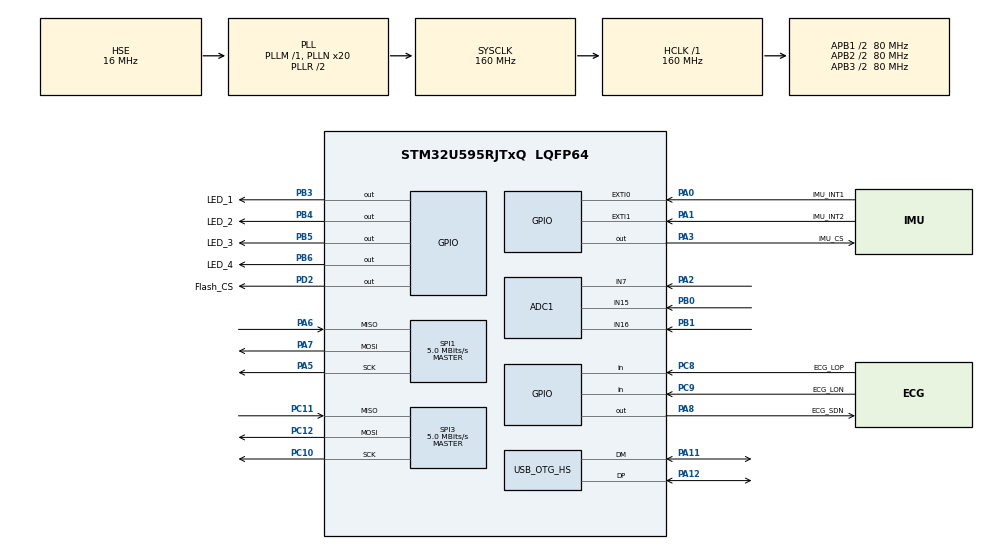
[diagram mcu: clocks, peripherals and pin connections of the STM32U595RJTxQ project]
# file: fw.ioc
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ADC1.Channel-1\#ChannelRegularConversion=ADC_CHANNEL_7
ADC1.Channel-2\#ChannelRegularConversion=ADC_CHANNEL_15
ADC1.Channel-3\#ChannelRegularConversion=ADC_CHANNEL_16
ADC1.ClockPrescaler=ADC_CLOCK_ASYNC_DIV2
ADC1.ConversionDataManagement=ADC_CONVERSIONDATA_DMA_ONESHOT
ADC1.DMAContinuousRequests=ENABLE
ADC1.ExternalTrigConv=ADC_SOFTWARE_START
ADC1.MonitoredBy-1\#ChannelRegularConversion=__NULL
ADC1.MonitoredBy-2\#ChannelRegularConversion=__NULL
ADC1.MonitoredBy-3\#ChannelRegularConversion=__NULL
ADC1.NbrOfConversion=3
ADC1.NbrOfConversionFlag=1
ADC1.OffsetNumber-1\#ChannelRegularConversion=ADC_OFFSET_NONE
ADC1.OffsetNumber-2\#ChannelRegularConversion=ADC_OFFSET_NONE
ADC1.OffsetNumber-3\#ChannelRegularConversion=ADC_OFFSET_NONE
ADC1.Rank-1\#ChannelRegularConversion=1
ADC1.Rank-2\#ChannelRegularConversion=2
ADC1.Rank-3\#ChannelRegularConversion=3
ADC1.SamplingTime-1\#ChannelRegularConversion=ADC_SAMPLETIME_814CYCLES
ADC1.SamplingTime-2\#ChannelRegularConversion=ADC_SAMPLETIME_20CYCLES
ADC1.SamplingTime-3\#ChannelRegularConversion=ADC_SAMPLETIME_20CYCLES
ADC1.master=1
CORTEX_M33_NS.userName=CORTEX_M33
GPDMA1.CIRCULARMODE_GPDMACH0=DISABLE
GPDMA1.DESTDATAWIDTH_GPDMACH0=DMA_DEST_DATAWIDTH_HALFWORD
GPDMA1.DESTINC_GPDMACH0=DMA_DINC_INCREMENTED
GPDMA1.DESTINC_GPDMACH1=DMA_DINC_INCREMENTED
GPDMA1.DESTINC_GPDMACH3=DMA_DINC_INCREMENTED
GPDMA1.DIRECTION_GPDMACH2=DMA_MEMORY_TO_PERIPH
GPDMA1.DIRECTION_GPDMACH4=DMA_MEMORY_TO_PERIPH
GPDMA1.IPHANDLE_GPDMACH0-SIMPLEREQUEST_GPDMACH0=__NULL
GPDMA1.IPHANDLE_GPDMACH1-SIMPLEREQUEST_GPDMACH1=__NULL
GPDMA1.IPHANDLE_GPDMACH2-SIMPLEREQUEST_GPDMACH2=__NULL
GPDMA1.IPHANDLE_GPDMACH3-SIMPLEREQUEST_GPDMACH3=__NULL
GPDMA1.IPHANDLE_GPDMACH4-SIMPLEREQUEST_GPDMACH4=__NULL
GPDMA1.REQUEST_GPDMACH0=GPDMA1_REQUEST_ADC1
GPDMA1.REQUEST_GPDMACH1=GPDMA1_REQUEST_SPI1_RX
GPDMA1.REQUEST_GPDMACH2=GPDMA1_REQUEST_SPI3_TX
GPDMA1.REQUEST_GPDMACH3=GPDMA1_REQUEST_SPI3_RX
GPDMA1.REQUEST_GPDMACH4=GPDMA1_REQUEST_SPI1_TX
GPDMA1.SRCDATAWIDTH_GPDMACH0=DMA_SRC_DATAWIDTH_HALFWORD
GPDMA1.SRCINC_GPDMACH2=DMA_SINC_INCREMENTED
GPDMA1.SRCINC_GPDMACH4=DMA_SINC_INCREMENTED
Mcu.Family=STM32U5
Mcu.Name=STM32U595RJTxQ
Mcu.Package=LQFP64
NVIC.EXTI0_IRQn=true\:5\:0\:true\:false\:true\:true\:true\:true
NVIC.EXTI1_IRQn=true\:5\:0\:true\:false\:true\:true\:true\:true
NVIC.GPDMA1_Channel0_IRQn=true\:4\:0\:true\:false\:true\:true\:true\:true
NVIC.GPDMA1_Channel1_IRQn=true\:4\:0\:true\:false\:true\:true\:true\:true
NVIC.GPDMA1_Channel2_IRQn=true\:4\:0\:true\:false\:true\:false\:true\:true
NVIC.GPDMA1_Channel3_IRQn=true\:4\:0\:true\:false\:true\:false\:true\:true
NVIC.GPDMA1_Channel4_IRQn=true\:4\:0\:true\:false\:true\:false\:true\:true
NVIC.OTG_HS_IRQn=true\:6\:0\:true\:false\:true\:true\:true\:true
NVIC.PriorityGroup=NVIC_PRIORITYGROUP_4
NVIC.SPI1_IRQn=true\:4\:0\:true\:false\:true\:false\:true\:true
NVIC.SPI3_IRQn=true\:4\:0\:true\:false\:true\:false\:true\:true
PA0.GPIO_Label=IMU_INT1
PA0.Signal=GPXTI0
PA1.GPIO_Label=IMU_INT2
PA1.Signal=GPXTI1
PA11.Mode=Internal_Phy_Device
PA11.Signal=USB_OTG_HS_DM
PA12.Mode=Internal_Phy_Device
PA12.Signal=USB_OTG_HS_DP
PA13\ (JTMS/SWDIO).Mode=Serial_Wire
PA13\ (JTMS/SWDIO).Signal=DEBUG_JTMS-SWDIO
PA14\ (JTCK/SWCLK).Mode=Serial_Wire
PA14\ (JTCK/SWCLK).Signal=DEBUG_JTCK-SWCLK
PA2.Mode=IN7-Single-Ended
PA2.Signal=ADC1_IN7
PA3.GPIO_Label=IMU_CS
PA3.GPIO_ModeDefaultOutputPP=GPIO_MODE_OUTPUT_PP
PA3.GPIO_Speed=GPIO_SPEED_FREQ_LOW
PA3.PinState=GPIO_PIN_SET
PA3.Signal=GPIO_Output
PA5.Mode=Full_Duplex_Master
PA5.Signal=SPI1_SCK
PA6.GPIO_PuPd=GPIO_NOPULL
PA6.Mode=Full_Duplex_Master
PA6.Signal=SPI1_MISO
PA7.Mode=Full_Duplex_Master
PA7.Signal=SPI1_MOSI
PA8.GPIO_Label=ECG_SDN
PA8.PinState=GPIO_PIN_SET
PA8.Signal=GPIO_Output
PB0.Mode=IN15-Single-Ended
PB0.Signal=ADC1_IN15
PB1.Mode=IN16-Single-Ended
PB1.Signal=ADC1_IN16
PB3\ (JTDO/TRACESWO).GPIO_Label=LED_1
PB3\ (JTDO/TRACESWO).Signal=GPIO_Output
PB4\ (NJTRST).GPIO_Label=LED_2
PB4\ (NJTRST).Signal=GPIO_Output
PB5.GPIO_Label=LED_3
PB5.Signal=GPIO_Output
PB6.GPIO_Label=LED_4
PB6.Signal=GPIO_Output
PC10.Mode=Full_Duplex_Master
PC10.Signal=SPI3_SCK
PC11.Mode=Full_Duplex_Master
PC11.Signal=SPI3_MISO
PC12.Mode=Full_Duplex_Master
PC12.Signal=SPI3_MOSI
PC14-OSC32_IN\ (PC14).Mode=LSE-External-Oscillator
PC14-OSC32_IN\ (PC14).Signal=RCC_OSC32_IN
PC15-OSC32_OUT\ (PC15).Mode=LSE-External-Oscillator
PC15-OSC32_OUT\ (PC15).Signal=RCC_OSC32_OUT
PC8.GPIO_Label=ECG_LOP
PC8.Signal=GPIO_Input
PC9.GPIO_Label=ECG_LON
PC9.Signal=GPIO_Input
PD2.GPIO_Label=Flash_CS
PD2.GPIO_Speed=GPIO_SPEED_FREQ_VERY_HIGH
PD2.PinState=GPIO_PIN_SET
PD2.Signal=GPIO_Output
PH0-OSC_IN\ (PH0).Mode=HSE-External-Oscillator
PH0-OSC_IN\ (PH0).Signal=RCC_OSC_IN
PH1-OSC_OUT\ (PH1).Mode=HSE-External-Oscillator
PH1-OSC_OUT\ (PH1).Signal=RCC_OSC_OUT
PWR.PowerMode=PWR_SMPS_SUPPLY
ProjectManager.HeapSize=0x2000
ProjectManager.StackSize=0x4000
ProjectManager.TargetToolchain=STM32CubeIDE
RCC.ADCCLockSelection=RCC_ADCDACCLKSOURCE_HSE
RCC.ADCFreq_Value=16000000
RCC.AHBFreq_Value=160000000
RCC.APB1CLKDivider=RCC_HCLK_DIV2
RCC.APB1Freq_Value=80000000
RCC.APB1TimFreq_Value=160000000
RCC.APB2CLKDivider=RCC_HCLK_DIV2
RCC.APB2Freq_Value=80000000
RCC.APB2TimFreq_Value=160000000
RCC.APB3CLKDivider=RCC_HCLK_DIV2
RCC.APB3Freq_Value=80000000
RCC.CortexFreq_Value=160000000
RCC.EPOD_VALUE=16000000
RCC.HCLKFreq_Value=160000000
RCC.HSE_VALUE=16000000
RCC.HSI48_VALUE=48000000
RCC.HSI_VALUE=16000000
RCC.LSIDIV_VALUE=32000
RCC.MSI_VALUE=4000000
RCC.PLL1P=20
RCC.PLL2FRACN=0
RCC.PLL2N=16
RCC.PLL2R=16
RCC.PLL2Source=RCC_PLLSOURCE_HSE
RCC.PLL3FRACN=0
RCC.PLL3Source=RCC_PLLSOURCE_HSE
RCC.PLLFRACN=0
RCC.PLLN=20
RCC.PLLSourceVirtual=RCC_PLLSOURCE_HSE
RCC.SYSCLKFreq_VALUE=160000000
RCC.SYSCLKSource=RCC_SYSCLKSOURCE_PLLCLK
RCC.USBPHYCLockSelection=RCC_USBPHYCLKSOURCE_HSE
RCC.VCOOutputFreq_Value=320000000
SPI1.BaudRatePrescaler=SPI_BAUDRATEPRESCALER_32
SPI1.CLKPhase=SPI_PHASE_1EDGE
SPI1.CLKPolarity=SPI_POLARITY_LOW
SPI1.CalculateBaudRate=5.0 MBits/s
SPI1.DataSize=SPI_DATASIZE_8BIT
SPI1.Direction=SPI_DIRECTION_2LINES
SPI1.Mode=SPI_MODE_MASTER
SPI1.VirtualType=VM_MASTER
SPI3.BaudRatePrescaler=SPI_BAUDRATEPRESCALER_32
SPI3.CLKPhase=SPI_PHASE_2EDGE
SPI3.CLKPolarity=SPI_POLARITY_HIGH
SPI3.CalculateBaudRate=5.0 MBits/s
SPI3.Direction=SPI_DIRECTION_2LINES
SPI3.Mode=SPI_MODE_MASTER
SPI3.VirtualType=VM_MASTER
TIM2.Prescaler=15999
USB_OTG_HS.DeviceSpeed=PCD_SPEED_FULL
USB_OTG_HS.VirtualMode=Device_HS
VP_CRC_VS_CRC.Mode=CRC_Activate
VP_FLASH_SIG_Activate_FlashIP.Mode=Activate_FlashIP
VP_GPDMA1_VS_GPDMACH0.Mode=SIMPLEREQUEST_GPDMACH0
VP_GPDMA1_VS_GPDMACH1.Mode=SIMPLEREQUEST_GPDMACH1
VP_GPDMA1_VS_GPDMACH2.Mode=SIMPLEREQUEST_GPDMACH2
VP_GPDMA1_VS_GPDMACH3.Mode=SIMPLEREQUEST_GPDMACH3
VP_GPDMA1_VS_GPDMACH4.Mode=SIMPLEREQUEST_GPDMACH4
VP_ICACHE_VS_ICACHE.Mode=DirectMappedCache
VP_LPBAMQUEUE_VS_QUEUE.Mode=QUEUEMODE
VP_LPBAM_VS_SIG1.Mode=SmartRun
VP_LPBAM_VS_SIG4.Mode=LPDMA1
VP_MEMORYMAP_VS_MEMORYMAP.Mode=CurAppReg
VP_PWR_VS_LPOM.Mode=PowerOptimisation
VP_PWR_VS_SECSignals.Mode=Security/Privilege
VP_PWR_Vdda.Mode=isolationVdda
VP_TIM2_VS_ClockSourceINT.Mode=Internal
board=custom

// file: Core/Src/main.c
/* USER CODE BEGIN Header */
/**
  ******************************************************************************
  * @file           : main.c
  * @brief          : Main program body
  ******************************************************************************
  * @attention
  *
  * Copyright (c) 2026 STMicroelectronics.
  * All rights reserved.
  *
  * This software is licensed under terms that can be found in the LICENSE file
  * in the root directory of this software component.
  * If no LICENSE file comes with this software, it is provided AS-IS.
  *
  ******************************************************************************
  */
/* USER CODE END Header */
#include "main.h"

/* USER CODE BEGIN Includes */
#include <string.h>

#include "tusb.h"
#include "usb_cdc.h"

#include "st1vafe6ax.h"
#include "data_types.h"
#include "ecg_dsp.h"
#include "imu_dsp.h"
/* USER CODE END Includes */

/* USER CODE BEGIN PD */

/* Telemetry */
#define TELEMETRY_HEADER    0xAABBU
#define EVENT_HEADER        0xCCDDU
#define BREATH_HEADER       0xEEFFU
#define HRV_HEADER          0xFFAAU

/* FIFO sizes must be powers of 2 */
#define SENSOR_FIFO_SIZE    1024U
#define TELEMETRY_FIFO_SIZE 512U

/* USER CODE END PD */

ADC_HandleTypeDef hadc1;
DMA_HandleTypeDef handle_GPDMA1_Channel0;

CRC_HandleTypeDef hcrc;

SPI_HandleTypeDef hspi1;
SPI_HandleTypeDef hspi3;
DMA_HandleTypeDef handle_GPDMA1_Channel4;
DMA_HandleTypeDef handle_GPDMA1_Channel1;
DMA_HandleTypeDef handle_GPDMA1_Channel3;
DMA_HandleTypeDef handle_GPDMA1_Channel2;

TIM_HandleTypeDef htim2;

PCD_HandleTypeDef hpcd_USB_OTG_HS;

/* USER CODE BEGIN PV */

/*
 * SPI TX buffer for reading 12 bytes of gyroscope + accelerometer output.
 *
 * The first byte is the register address with the read bit set.
 * Bytes 1-12 are dummies clocked out while the IMU shifts data back.
 * Starting at OUTX_L_G (0x22), registers are contiguous through 0x2D:
 *   0x22..0x27: Gyro  X_L, X_H, Y_L, Y_H, Z_L, Z_H
 *   0x28..0x2D: Accel Z_L, Z_H, Y_L, Y_H, X_L, X_H
 */
static uint8_t imu_tx[13] =
  { ST1VAFE6AX_REG_OUTX_L_G | ST1VAFE6AX_READ_BIT,
    0, 0, 0, 0, 0, 0, 0, 0, 0, 0, 0, 0 };

volatile uint8_t system_ready = 0;

DataSample_t sensor_fifo[SENSOR_FIFO_SIZE];
volatile uint16_t sensor_fifo_head = 0;
volatile uint16_t sensor_fifo_tail = 0;

TelemetryPacket_t telemetry_fifo[TELEMETRY_FIFO_SIZE];
uint16_t telemetry_fifo_head = 0;
uint16_t telemetry_fifo_tail = 0;

volatile uint8_t spi_finished = 0;
volatile uint8_t adc_finished = 0;
volatile uint8_t dma_in_progress = 0;
/* USER CODE END PV */

void SystemClock_Config(void);
static void SystemPower_Config(void);
static void MX_GPIO_Init(void);
static void MX_GPDMA1_Init(void);
static void MX_ADC1_Init(void);
static void MX_CRC_Init(void);
static void MX_FLASH_Init(void);
static void MX_ICACHE_Init(void);
static void MX_SPI3_Init(void);
static void MX_USB_OTG_HS_PCD_Init(void);
static void MX_SPI1_Init(void);
static void MX_TIM2_Init(void);

/* USER CODE BEGIN 0 */
static HAL_StatusTypeDef IMU_WriteReg(uint8_t reg, uint8_t value)
{
  uint8_t tx[2] =
    { reg, value };

  HAL_GPIO_WritePin(IMU_CS_GPIO_Port, IMU_CS_Pin, GPIO_PIN_RESET);
  HAL_StatusTypeDef status = HAL_SPI_Transmit(&hspi1, tx, 2,
  ST1VAFE6AX_SPI_TIMEOUT_MS);
  HAL_GPIO_WritePin(IMU_CS_GPIO_Port, IMU_CS_Pin, GPIO_PIN_SET);

  return status;
}

static HAL_StatusTypeDef IMU_ReadReg(uint8_t reg, uint8_t *value)
{
  uint8_t tx[2] =
    { reg | ST1VAFE6AX_READ_BIT, 0x00 };
  uint8_t rx[2] =
    { 0 };

  HAL_GPIO_WritePin(IMU_CS_GPIO_Port, IMU_CS_Pin, GPIO_PIN_RESET);
  HAL_StatusTypeDef status = HAL_SPI_TransmitReceive(&hspi1, tx, rx, 2,
  ST1VAFE6AX_SPI_TIMEOUT_MS);
  HAL_GPIO_WritePin(IMU_CS_GPIO_Port, IMU_CS_Pin, GPIO_PIN_SET);

  *value = rx[1];
  return status;
}

void Check_DMA_Complete(void)
{
  if (spi_finished && adc_finished)
  {
    spi_finished = 0;
    adc_finished = 0;

    __DMB();
    sensor_fifo[sensor_fifo_head].status = 2;
    sensor_fifo_head = (sensor_fifo_head + 1) & (SENSOR_FIFO_SIZE - 1);
    dma_in_progress = 0;
  }
}

static uint8_t USB_SendEvent(void *pkt, uint16_t size, uint16_t header)
{
  if (!tud_cdc_connected() || tud_cdc_write_available() < size)
    return 0U;

  uint8_t *buf = (uint8_t*) pkt;
  uint16_t crc_off = size - (uint16_t) sizeof(uint32_t);
  uint32_t zero = 0U;

  memcpy(buf, &header, sizeof(uint16_t));
  memcpy(buf + crc_off, &zero, sizeof(uint32_t));
  uint32_t crc = HAL_CRC_Calculate(&hcrc, (uint32_t*) buf, crc_off);
  memcpy(buf + crc_off, &crc, sizeof(uint32_t));

  tud_cdc_write(buf, size);
  tud_cdc_write_flush();
  return 1U;
}
/* USER CODE END 0 */

int main(void)
{

  /* USER CODE BEGIN 1 */
  static uint32_t led_timer = 0;
  static uint8_t led_on = 0;
  static uint8_t prev_leads_off = 1;
  /* USER CODE END 1 */

  /* MCU Configuration--------------------------------------------------------*/

  /* Reset of all peripherals, Initializes the Flash interface and the Systick. */
  HAL_Init();

  /* Configure the System Power */
  SystemPower_Config();

  /* Configure the system clock */
  SystemClock_Config();

  /* Initialize all configured peripherals */
  MX_GPIO_Init();
  MX_GPDMA1_Init();
  MX_ADC1_Init();
  MX_CRC_Init();
  MX_FLASH_Init();
  MX_ICACHE_Init();
  MX_SPI3_Init();
  MX_USB_OTG_HS_PCD_Init();
  MX_SPI1_Init();
  MX_TIM2_Init();
  /* USER CODE BEGIN 2 */

  /* ADC calibration */
  HAL_ADCEx_Calibration_Start(&hadc1, ADC_CALIB_OFFSET, ADC_SINGLE_ENDED);
  HAL_Delay(10);

  /* Enable the AD8232 */
  HAL_GPIO_WritePin(GPIOA, ECG_SDN_Pin, GPIO_PIN_SET);

  /* Initialize the IMU */
  HAL_Delay(100);

  uint8_t who_am_i = 0;
  IMU_ReadReg(ST1VAFE6AX_REG_WHO_AM_I, &who_am_i);
  HAL_Delay(10);
  if (who_am_i != ST1VAFE6AX_WHO_AM_I_VALUE)
  {
    while(1)
    {
      HAL_GPIO_TogglePin(GPIOB, LED_1_Pin);
      HAL_Delay(200);
    }
  }

  /*
   * CTRL4: Enable pulsed data-ready mode (75 us pulses).
   * The default latched mode caused issues because the DRDY line stays high
   * until the upper output register byte is read, which can miss edges if
   * the main loop doesn't read fast enough.
   */
  IMU_WriteReg(ST1VAFE6AX_REG_CTRL4, ST1VAFE6AX_CTRL4_DRDY_PULSED);
  HAL_Delay(10);

  /* INT1_CTRL: Route accelerometer data-ready to the INT1 pin */
  IMU_WriteReg(ST1VAFE6AX_REG_INT1_CTRL, ST1VAFE6AX_INT1_DRDY_XL);
  HAL_Delay(10);

  /*
   * CTRL1: High-performance mode (default OP_MODE_XL = 000) with
   * accelerometer ODR = 480 Hz.
   */
  IMU_WriteReg(ST1VAFE6AX_REG_CTRL1, ST1VAFE6AX_ODR_XL_480HZ);
  HAL_Delay(10);

  /*
   * CTRL2: High-performance mode (default OP_MODE_G = 000) with
   * gyroscope ODR = 480 Hz. Full-scale defaults to +/-125 dps (CTRL6 = 0x00),
   * which gives 4.375 mdps/LSB -- optimal sensitivity for GCG.
   */
  IMU_WriteReg(ST1VAFE6AX_REG_CTRL2, ST1VAFE6AX_ODR_G_480HZ);
  HAL_Delay(10);

  HAL_TIM_Base_Start(&htim2);

  tusb_init();

  ECG_Init();
  IMU_Init();

  /* Now we can start reading from the IMU and ADC */
  system_ready = 1;
  /* USER CODE END 2 */

  /* Infinite loop */
  while (1)
  {

    /* USER CODE BEGIN 3 */
    /* We must call this regularly to process USB events */
    tud_task();

    if (sensor_fifo_tail != sensor_fifo_head
        && sensor_fifo[sensor_fifo_tail].status == 2)
    {
      __DMB();

      DataSample_t *s = &sensor_fifo[sensor_fifo_tail];

      RawECG_t ecg_sample;
      ecg_sample.timestamp = s->timestamp;
      ecg_sample.ecg = (int16_t) s->adc[1] - (int16_t) s->adc[2];
      ecg_sample.reserved = 0;

      RawIMU_t imu_sample;
      imu_sample.timestamp = s->timestamp;
      /* Gyroscope: OUTX_L_G(0x22)..OUTZ_H_G(0x27) -> imu[1..6] */
      imu_sample.gx = (int16_t) ((s->imu[2] << 8) | s->imu[1]);
      imu_sample.gy = (int16_t) ((s->imu[4] << 8) | s->imu[3]);
      imu_sample.gz = (int16_t) ((s->imu[6] << 8) | s->imu[5]);
      /* Accelerometer: OUTZ_L_A(0x28)..OUTX_H_A(0x2D) -> imu[7..12] */
      imu_sample.ax = (int16_t) ((s->imu[12] << 8) | s->imu[11]);
      imu_sample.ay = (int16_t) ((s->imu[10] << 8) | s->imu[9]);
      imu_sample.az = (int16_t) ((s->imu[8] << 8) | s->imu[7]);

      /* Release the FIFO slot */
      s->status = 0;
      sensor_fifo_tail = (sensor_fifo_tail + 1) & (SENSOR_FIFO_SIZE - 1);

      /* Run DSP pipelines */
      HeartBeatEvent_t latest_beat = { 0 };
      uint8_t leads_off = HAL_GPIO_ReadPin(ECG_LOP_GPIO_Port, ECG_LOP_Pin)
          || HAL_GPIO_ReadPin(ECG_LON_GPIO_Port, ECG_LON_Pin);

      if (prev_leads_off && !leads_off)
        ECG_Reset();
      prev_leads_off = leads_off;

      if (!leads_off && ECG_Process_Sample(ecg_sample, &latest_beat) == 1)
      {
        HAL_GPIO_WritePin(GPIOB, LED_3_Pin, GPIO_PIN_SET);
        led_timer = HAL_GetTick();
        led_on = 1;

        /*
         * Send the heartbeat event immediately.
         * bpm and timestamp are populated by ECG_Process_Sample().
         */
        latest_beat.source = 0U;
        memset(latest_beat.reserved, 0, sizeof(latest_beat.reserved));
        USB_SendEvent(&latest_beat, sizeof(HeartBeatEvent_t), EVENT_HEADER);
      }

      /* Synchronized HRV: when ECG triggers, compute both */
      HRVReport_t ecg_hrv = { 0 };
      if (ECG_Get_HRV_Report(&ecg_hrv))
      {
        USB_SendEvent(&ecg_hrv, sizeof(HRVReport_t), HRV_HEADER);

        /* SCG HRV at the same moment, same 60-second window endpoint */
        HRVReport_t scg_hrv = { 0 };
        if (IMU_Compute_HRV(ecg_hrv.timestamp, &scg_hrv))
        {
          USB_SendEvent(&scg_hrv, sizeof(HRVReport_t), HRV_HEADER);
        }
      }

      IMU_Process_Sample(imu_sample);

      /* SCG heartbeat event */
      HeartBeatEvent_t scg_beat = { 0 };
      if (IMU_Get_Beat(&scg_beat))
      {
        scg_beat.source = 1U;
        memset(scg_beat.reserved, 0, sizeof(scg_beat.reserved));
        USB_SendEvent(&scg_beat, sizeof(HeartBeatEvent_t), EVENT_HEADER);
      }

      /* Respiratory rate event */
      BreathEvent_t breath_evt = { 0 };
      if (IMU_Get_Breath(&breath_evt))
      {
        USB_SendEvent(&breath_evt, sizeof(BreathEvent_t), BREATH_HEADER);
      }

      /* Queue a telemetry frame */
      uint16_t next_telemetry_head = (telemetry_fifo_head + 1)
          & (TELEMETRY_FIFO_SIZE - 1);

      if (next_telemetry_head != telemetry_fifo_tail)
      {
        TelemetryPacket_t *pkt = &telemetry_fifo[telemetry_fifo_head];
        pkt->header = TELEMETRY_HEADER;
        pkt->timestamp = ecg_sample.timestamp;
        pkt->ecg = ecg_sample.ecg;
        pkt->ax = imu_sample.ax;
        pkt->ay = imu_sample.ay;
        pkt->az = imu_sample.az;
        pkt->gx = imu_sample.gx;
        pkt->gy = imu_sample.gy;
        pkt->gz = imu_sample.gz;
        pkt->crc = 0;
        pkt->crc = HAL_CRC_Calculate(&hcrc, (uint32_t*) pkt,
                                     sizeof(TelemetryPacket_t) - sizeof(uint32_t));

        telemetry_fifo_head = next_telemetry_head;
      }
      /* If the FIFO is full the telemetry packet is dropped. */
    }

    if (!tud_cdc_connected())
    {
      telemetry_fifo_tail = telemetry_fifo_head;
    }
    else
    {
      uint8_t sent_any = 0U;

      while (telemetry_fifo_tail != telemetry_fifo_head)
      {
        if (tud_cdc_write_available() < sizeof(TelemetryPacket_t))
          break;

        uint32_t written = tud_cdc_write(
            (uint8_t*) &telemetry_fifo[telemetry_fifo_tail],
            sizeof(TelemetryPacket_t));

        if (written != sizeof(TelemetryPacket_t))
          break;

        telemetry_fifo_tail = (telemetry_fifo_tail + 1)
            & (TELEMETRY_FIFO_SIZE - 1);
        sent_any = 1U;
      }

      if (sent_any)
        tud_cdc_write_flush();
    }

    if (led_on && (50 <= HAL_GetTick() - led_timer))
    {
      HAL_GPIO_WritePin(GPIOB, LED_3_Pin, GPIO_PIN_RESET);
      led_on = 0;
    }
  }
  /* USER CODE END 3 */
}

void SystemClock_Config(void)
{
  RCC_OscInitTypeDef RCC_OscInitStruct = {0};
  RCC_ClkInitTypeDef RCC_ClkInitStruct = {0};

  /** Configure the main internal regulator output voltage
  */
  if (HAL_PWREx_ControlVoltageScaling(PWR_REGULATOR_VOLTAGE_SCALE1) != HAL_OK)
  {
    Error_Handler();
  }

  /** Initializes the CPU, AHB and APB buses clocks
  */
  RCC_OscInitStruct.OscillatorType = RCC_OSCILLATORTYPE_HSE;
  RCC_OscInitStruct.HSEState = RCC_HSE_ON;
  RCC_OscInitStruct.PLL.PLLState = RCC_PLL_ON;
  RCC_OscInitStruct.PLL.PLLSource = RCC_PLLSOURCE_HSE;
  RCC_OscInitStruct.PLL.PLLMBOOST = RCC_PLLMBOOST_DIV1;
  RCC_OscInitStruct.PLL.PLLM = 1;
  RCC_OscInitStruct.PLL.PLLN = 20;
  RCC_OscInitStruct.PLL.PLLP = 20;
  RCC_OscInitStruct.PLL.PLLQ = 2;
  RCC_OscInitStruct.PLL.PLLR = 2;
  RCC_OscInitStruct.PLL.PLLRGE = RCC_PLLVCIRANGE_1;
  RCC_OscInitStruct.PLL.PLLFRACN = 0;
  if (HAL_RCC_OscConfig(&RCC_OscInitStruct) != HAL_OK)
  {
    Error_Handler();
  }

  /** Initializes the CPU, AHB and APB buses clocks
  */
  RCC_ClkInitStruct.ClockType = RCC_CLOCKTYPE_HCLK|RCC_CLOCKTYPE_SYSCLK
                              |RCC_CLOCKTYPE_PCLK1|RCC_CLOCKTYPE_PCLK2
                              |RCC_CLOCKTYPE_PCLK3;
  RCC_ClkInitStruct.SYSCLKSource = RCC_SYSCLKSOURCE_PLLCLK;
  RCC_ClkInitStruct.AHBCLKDivider = RCC_SYSCLK_DIV1;
  RCC_ClkInitStruct.APB1CLKDivider = RCC_HCLK_DIV2;
  RCC_ClkInitStruct.APB2CLKDivider = RCC_HCLK_DIV2;
  RCC_ClkInitStruct.APB3CLKDivider = RCC_HCLK_DIV2;

  if (HAL_RCC_ClockConfig(&RCC_ClkInitStruct, FLASH_LATENCY_4) != HAL_OK)
  {
    Error_Handler();
  }
}

/**
  * @brief Power Configuration
  * @retval None
  */
static void SystemPower_Config(void)
{

  /*
   * Switch to SMPS regulator instead of LDO
   */
  if (HAL_PWREx_ConfigSupply(PWR_SMPS_SUPPLY) != HAL_OK)
  {
    Error_Handler();
  }
}

static void MX_ADC1_Init(void)
{

  ADC_ChannelConfTypeDef sConfig = {0};

  /** Common config
  */
  hadc1.Instance = ADC1;
  hadc1.Init.ClockPrescaler = ADC_CLOCK_ASYNC_DIV2;
  hadc1.Init.Resolution = ADC_RESOLUTION_14B;
  hadc1.Init.GainCompensation = 0;
  hadc1.Init.DataAlign = ADC_DATAALIGN_RIGHT;
  hadc1.Init.ScanConvMode = ADC_SCAN_ENABLE;
  hadc1.Init.EOCSelection = ADC_EOC_SINGLE_CONV;
  hadc1.Init.LowPowerAutoWait = DISABLE;
  hadc1.Init.ContinuousConvMode = DISABLE;
  hadc1.Init.NbrOfConversion = 3;
  hadc1.Init.DiscontinuousConvMode = DISABLE;
  hadc1.Init.ExternalTrigConv = ADC_SOFTWARE_START;
  hadc1.Init.ExternalTrigConvEdge = ADC_EXTERNALTRIGCONVEDGE_NONE;
  hadc1.Init.DMAContinuousRequests = ENABLE;
  hadc1.Init.TriggerFrequencyMode = ADC_TRIGGER_FREQ_HIGH;
  hadc1.Init.Overrun = ADC_OVR_DATA_PRESERVED;
  hadc1.Init.LeftBitShift = ADC_LEFTBITSHIFT_NONE;
  hadc1.Init.ConversionDataManagement = ADC_CONVERSIONDATA_DMA_ONESHOT;
  hadc1.Init.OversamplingMode = DISABLE;
  if (HAL_ADC_Init(&hadc1) != HAL_OK)
  {
    Error_Handler();
  }

  /** Configure Regular Channel
  */
  sConfig.Channel = ADC_CHANNEL_7;
  sConfig.Rank = ADC_REGULAR_RANK_1;
  sConfig.SamplingTime = ADC_SAMPLETIME_814CYCLES;
  sConfig.SingleDiff = ADC_SINGLE_ENDED;
  sConfig.OffsetNumber = ADC_OFFSET_NONE;
  sConfig.Offset = 0;
  if (HAL_ADC_ConfigChannel(&hadc1, &sConfig) != HAL_OK)
  {
    Error_Handler();
  }

  /** Configure Regular Channel
  */
  sConfig.Channel = ADC_CHANNEL_15;
  sConfig.Rank = ADC_REGULAR_RANK_2;
  sConfig.SamplingTime = ADC_SAMPLETIME_20CYCLES;
  if (HAL_ADC_ConfigChannel(&hadc1, &sConfig) != HAL_OK)
  {
    Error_Handler();
  }

  /** Configure Regular Channel
  */
  sConfig.Channel = ADC_CHANNEL_16;
  sConfig.Rank = ADC_REGULAR_RANK_3;
  if (HAL_ADC_ConfigChannel(&hadc1, &sConfig) != HAL_OK)
  {
    Error_Handler();
  }

}

static void MX_CRC_Init(void)
{

  hcrc.Instance = CRC;
  hcrc.Init.DefaultPolynomialUse = DEFAULT_POLYNOMIAL_ENABLE;
  hcrc.Init.DefaultInitValueUse = DEFAULT_INIT_VALUE_ENABLE;
  hcrc.Init.InputDataInversionMode = CRC_INPUTDATA_INVERSION_NONE;
  hcrc.Init.OutputDataInversionMode = CRC_OUTPUTDATA_INVERSION_DISABLE;
  hcrc.InputDataFormat = CRC_INPUTDATA_FORMAT_BYTES;
  if (HAL_CRC_Init(&hcrc) != HAL_OK)
  {
    Error_Handler();
  }

}

static void MX_FLASH_Init(void)
{

  if (HAL_FLASH_Unlock() != HAL_OK)
  {
    Error_Handler();
  }
  if (HAL_FLASH_Lock() != HAL_OK)
  {
    Error_Handler();
  }

}

static void MX_GPDMA1_Init(void)
{

  /* Peripheral clock enable */
  __HAL_RCC_GPDMA1_CLK_ENABLE();

  /* GPDMA1 interrupt Init */
    HAL_NVIC_SetPriority(GPDMA1_Channel0_IRQn, 4, 0);
    HAL_NVIC_EnableIRQ(GPDMA1_Channel0_IRQn);
    HAL_NVIC_SetPriority(GPDMA1_Channel1_IRQn, 4, 0);
    HAL_NVIC_EnableIRQ(GPDMA1_Channel1_IRQn);
    HAL_NVIC_SetPriority(GPDMA1_Channel2_IRQn, 4, 0);
    HAL_NVIC_EnableIRQ(GPDMA1_Channel2_IRQn);
    HAL_NVIC_SetPriority(GPDMA1_Channel3_IRQn, 4, 0);
    HAL_NVIC_EnableIRQ(GPDMA1_Channel3_IRQn);
    HAL_NVIC_SetPriority(GPDMA1_Channel4_IRQn, 4, 0);
    HAL_NVIC_EnableIRQ(GPDMA1_Channel4_IRQn);

}

static void MX_ICACHE_Init(void)
{

  /** Enable instruction cache in 1-way (direct mapped cache)
  */
  if (HAL_ICACHE_ConfigAssociativityMode(ICACHE_1WAY) != HAL_OK)
  {
    Error_Handler();
  }
  if (HAL_ICACHE_Enable() != HAL_OK)
  {
    Error_Handler();
  }

}

static void MX_SPI1_Init(void)
{

  SPI_AutonomousModeConfTypeDef HAL_SPI_AutonomousMode_Cfg_Struct = {0};

  /* SPI1 parameter configuration*/
  hspi1.Instance = SPI1;
  hspi1.Init.Mode = SPI_MODE_MASTER;
  hspi1.Init.Direction = SPI_DIRECTION_2LINES;
  hspi1.Init.DataSize = SPI_DATASIZE_8BIT;
  hspi1.Init.CLKPolarity = SPI_POLARITY_LOW;
  hspi1.Init.CLKPhase = SPI_PHASE_1EDGE;
  hspi1.Init.NSS = SPI_NSS_SOFT;
  hspi1.Init.BaudRatePrescaler = SPI_BAUDRATEPRESCALER_32;
  hspi1.Init.FirstBit = SPI_FIRSTBIT_MSB;
  hspi1.Init.TIMode = SPI_TIMODE_DISABLE;
  hspi1.Init.CRCCalculation = SPI_CRCCALCULATION_DISABLE;
  hspi1.Init.CRCPolynomial = 0x7;
  hspi1.Init.NSSPMode = SPI_NSS_PULSE_ENABLE;
  hspi1.Init.NSSPolarity = SPI_NSS_POLARITY_LOW;
  hspi1.Init.FifoThreshold = SPI_FIFO_THRESHOLD_01DATA;
  hspi1.Init.MasterSSIdleness = SPI_MASTER_SS_IDLENESS_00CYCLE;
  hspi1.Init.MasterInterDataIdleness = SPI_MASTER_INTERDATA_IDLENESS_00CYCLE;
  hspi1.Init.MasterReceiverAutoSusp = SPI_MASTER_RX_AUTOSUSP_DISABLE;
  hspi1.Init.MasterKeepIOState = SPI_MASTER_KEEP_IO_STATE_DISABLE;
  hspi1.Init.IOSwap = SPI_IO_SWAP_DISABLE;
  hspi1.Init.ReadyMasterManagement = SPI_RDY_MASTER_MANAGEMENT_INTERNALLY;
  hspi1.Init.ReadyPolarity = SPI_RDY_POLARITY_HIGH;
  if (HAL_SPI_Init(&hspi1) != HAL_OK)
  {
    Error_Handler();
  }
  HAL_SPI_AutonomousMode_Cfg_Struct.TriggerState = SPI_AUTO_MODE_DISABLE;
  HAL_SPI_AutonomousMode_Cfg_Struct.TriggerSelection = SPI_GRP1_GPDMA_CH0_TCF_TRG;
  HAL_SPI_AutonomousMode_Cfg_Struct.TriggerPolarity = SPI_TRIG_POLARITY_RISING;
  if (HAL_SPIEx_SetConfigAutonomousMode(&hspi1, &HAL_SPI_AutonomousMode_Cfg_Struct) != HAL_OK)
  {
    Error_Handler();
  }

}

static void MX_SPI3_Init(void)
{

  SPI_AutonomousModeConfTypeDef HAL_SPI_AutonomousMode_Cfg_Struct = {0};

  /* SPI3 parameter configuration*/
  hspi3.Instance = SPI3;
  hspi3.Init.Mode = SPI_MODE_MASTER;
  hspi3.Init.Direction = SPI_DIRECTION_2LINES;
  hspi3.Init.DataSize = SPI_DATASIZE_8BIT;
  hspi3.Init.CLKPolarity = SPI_POLARITY_HIGH;
  hspi3.Init.CLKPhase = SPI_PHASE_2EDGE;
  hspi3.Init.NSS = SPI_NSS_SOFT;
  hspi3.Init.BaudRatePrescaler = SPI_BAUDRATEPRESCALER_32;
  hspi3.Init.FirstBit = SPI_FIRSTBIT_MSB;
  hspi3.Init.TIMode = SPI_TIMODE_DISABLE;
  hspi3.Init.CRCCalculation = SPI_CRCCALCULATION_DISABLE;
  hspi3.Init.CRCPolynomial = 0x7;
  hspi3.Init.NSSPMode = SPI_NSS_PULSE_DISABLE;
  hspi3.Init.NSSPolarity = SPI_NSS_POLARITY_LOW;
  hspi3.Init.FifoThreshold = SPI_FIFO_THRESHOLD_01DATA;
  hspi3.Init.MasterSSIdleness = SPI_MASTER_SS_IDLENESS_00CYCLE;
  hspi3.Init.MasterInterDataIdleness = SPI_MASTER_INTERDATA_IDLENESS_00CYCLE;
  hspi3.Init.MasterReceiverAutoSusp = SPI_MASTER_RX_AUTOSUSP_DISABLE;
  hspi3.Init.MasterKeepIOState = SPI_MASTER_KEEP_IO_STATE_DISABLE;
  hspi3.Init.IOSwap = SPI_IO_SWAP_DISABLE;
  hspi3.Init.ReadyMasterManagement = SPI_RDY_MASTER_MANAGEMENT_INTERNALLY;
  hspi3.Init.ReadyPolarity = SPI_RDY_POLARITY_HIGH;
  if (HAL_SPI_Init(&hspi3) != HAL_OK)
  {
    Error_Handler();
  }
  HAL_SPI_AutonomousMode_Cfg_Struct.TriggerState = SPI_AUTO_MODE_DISABLE;
  HAL_SPI_AutonomousMode_Cfg_Struct.TriggerSelection = SPI_GRP2_LPDMA_CH0_TCF_TRG;
  HAL_SPI_AutonomousMode_Cfg_Struct.TriggerPolarity = SPI_TRIG_POLARITY_RISING;
  if (HAL_SPIEx_SetConfigAutonomousMode(&hspi3, &HAL_SPI_AutonomousMode_Cfg_Struct) != HAL_OK)
  {
    Error_Handler();
  }

}

static void MX_TIM2_Init(void)
{

  TIM_ClockConfigTypeDef sClockSourceConfig = {0};
  TIM_MasterConfigTypeDef sMasterConfig = {0};

  htim2.Instance = TIM2;
  htim2.Init.Prescaler = 15999;
  htim2.Init.CounterMode = TIM_COUNTERMODE_UP;
  htim2.Init.Period = 4294967295;
  htim2.Init.ClockDivision = TIM_CLOCKDIVISION_DIV1;
  htim2.Init.AutoReloadPreload = TIM_AUTORELOAD_PRELOAD_DISABLE;
  if (HAL_TIM_Base_Init(&htim2) != HAL_OK)
  {
    Error_Handler();
  }
  sClockSourceConfig.ClockSource = TIM_CLOCKSOURCE_INTERNAL;
  if (HAL_TIM_ConfigClockSource(&htim2, &sClockSourceConfig) != HAL_OK)
  {
    Error_Handler();
  }
  sMasterConfig.MasterOutputTrigger = TIM_TRGO_RESET;
  sMasterConfig.MasterSlaveMode = TIM_MASTERSLAVEMODE_DISABLE;
  if (HAL_TIMEx_MasterConfigSynchronization(&htim2, &sMasterConfig) != HAL_OK)
  {
    Error_Handler();
  }

}

static void MX_USB_OTG_HS_PCD_Init(void)
{

  hpcd_USB_OTG_HS.Instance = USB_OTG_HS;
  hpcd_USB_OTG_HS.Init.dev_endpoints = 9;
  hpcd_USB_OTG_HS.Init.speed = PCD_SPEED_FULL;
  hpcd_USB_OTG_HS.Init.phy_itface = USB_OTG_HS_EMBEDDED_PHY;
  hpcd_USB_OTG_HS.Init.Sof_enable = DISABLE;
  hpcd_USB_OTG_HS.Init.low_power_enable = DISABLE;
  hpcd_USB_OTG_HS.Init.lpm_enable = DISABLE;
  hpcd_USB_OTG_HS.Init.use_dedicated_ep1 = DISABLE;
  hpcd_USB_OTG_HS.Init.vbus_sensing_enable = DISABLE;
  hpcd_USB_OTG_HS.Init.dma_enable = DISABLE;
  if (HAL_PCD_Init(&hpcd_USB_OTG_HS) != HAL_OK)
  {
    Error_Handler();
  }

}

static void MX_GPIO_Init(void)
{
  GPIO_InitTypeDef GPIO_InitStruct = {0};

  /* GPIO Ports Clock Enable */
  __HAL_RCC_GPIOC_CLK_ENABLE();
  __HAL_RCC_GPIOH_CLK_ENABLE();
  __HAL_RCC_GPIOA_CLK_ENABLE();
  __HAL_RCC_GPIOB_CLK_ENABLE();
  __HAL_RCC_GPIOD_CLK_ENABLE();

  /*Configure GPIO pin Output Level */
  HAL_GPIO_WritePin(GPIOA, IMU_CS_Pin|ECG_SDN_Pin, GPIO_PIN_SET);

  /*Configure GPIO pin Output Level */
  HAL_GPIO_WritePin(Flash_CS_GPIO_Port, Flash_CS_Pin, GPIO_PIN_SET);

  /*Configure GPIO pin Output Level */
  HAL_GPIO_WritePin(GPIOB, LED_1_Pin|LED_2_Pin|LED_3_Pin|LED_4_Pin, GPIO_PIN_RESET);

  /*Configure GPIO pins : IMU_INT1_Pin IMU_INT2_Pin */
  GPIO_InitStruct.Pin = IMU_INT1_Pin|IMU_INT2_Pin;
  GPIO_InitStruct.Mode = GPIO_MODE_IT_RISING;
  GPIO_InitStruct.Pull = GPIO_NOPULL;
  HAL_GPIO_Init(GPIOA, &GPIO_InitStruct);

  /*Configure GPIO pins : IMU_CS_Pin ECG_SDN_Pin */
  GPIO_InitStruct.Pin = IMU_CS_Pin|ECG_SDN_Pin;
  GPIO_InitStruct.Mode = GPIO_MODE_OUTPUT_PP;
  GPIO_InitStruct.Pull = GPIO_NOPULL;
  GPIO_InitStruct.Speed = GPIO_SPEED_FREQ_LOW;
  HAL_GPIO_Init(GPIOA, &GPIO_InitStruct);

  /*Configure GPIO pins : ECG_LOP_Pin ECG_LON_Pin */
  GPIO_InitStruct.Pin = ECG_LOP_Pin|ECG_LON_Pin;
  GPIO_InitStruct.Mode = GPIO_MODE_INPUT;
  GPIO_InitStruct.Pull = GPIO_NOPULL;
  HAL_GPIO_Init(GPIOC, &GPIO_InitStruct);

  /*Configure GPIO pin : Flash_CS_Pin */
  GPIO_InitStruct.Pin = Flash_CS_Pin;
  GPIO_InitStruct.Mode = GPIO_MODE_OUTPUT_PP;
  GPIO_InitStruct.Pull = GPIO_NOPULL;
  GPIO_InitStruct.Speed = GPIO_SPEED_FREQ_VERY_HIGH;
  HAL_GPIO_Init(Flash_CS_GPIO_Port, &GPIO_InitStruct);

  /*Configure GPIO pins : LED_1_Pin LED_2_Pin LED_3_Pin LED_4_Pin */
  GPIO_InitStruct.Pin = LED_1_Pin|LED_2_Pin|LED_3_Pin|LED_4_Pin;
  GPIO_InitStruct.Mode = GPIO_MODE_OUTPUT_PP;
  GPIO_InitStruct.Pull = GPIO_NOPULL;
  GPIO_InitStruct.Speed = GPIO_SPEED_FREQ_LOW;
  HAL_GPIO_Init(GPIOB, &GPIO_InitStruct);

  /* EXTI interrupt init*/
  HAL_NVIC_SetPriority(EXTI0_IRQn, 5, 0);
  HAL_NVIC_EnableIRQ(EXTI0_IRQn);

  HAL_NVIC_SetPriority(EXTI1_IRQn, 5, 0);
  HAL_NVIC_EnableIRQ(EXTI1_IRQn);

}

/* USER CODE BEGIN 4 */
void HAL_GPIO_EXTI_Rising_Callback(uint16_t GPIO_Pin)
{
  if (GPIO_Pin != IMU_INT1_Pin || !system_ready)
    return;
  if (dma_in_progress)
    return;

  uint16_t head = sensor_fifo_head;
  uint16_t next_head = (head + 1) & (SENSOR_FIFO_SIZE - 1);
  if (next_head == sensor_fifo_tail)
    return; /* FIFO full - drop this sample */

  dma_in_progress = 1;
  spi_finished = 0;
  adc_finished = 0;

  /* We want greater resolution than HAL_GetTick() (1ms) */
  sensor_fifo[head].timestamp = htim2.Instance->CNT;
  sensor_fifo[head].status = 1;

  __DSB();

  HAL_StatusTypeDef spi_status, adc_status;
  /* IMU: read 12 bytes (gyro + accel) starting from OUTX_L_G with DMA */
  HAL_GPIO_WritePin(GPIOA, IMU_CS_Pin, GPIO_PIN_RESET);
  spi_status = HAL_SPI_TransmitReceive_DMA(&hspi1, (uint8_t*) imu_tx,
                                           (uint8_t*) sensor_fifo[head].imu,
                                           sizeof(sensor_fifo[head].imu));

  if (spi_status != HAL_OK)
  {
    HAL_GPIO_WritePin(GPIOA, IMU_CS_Pin, GPIO_PIN_SET);
    memset(sensor_fifo[head].imu, 0, sizeof(sensor_fifo[head].imu));
    spi_finished = 1;
  }

  /*
   * ADC: read 3 channels (Vin divider, AD8232 output, AD8232 REFOUT).
   *
   * HAL_ADC_Start_DMA() expects a uint32_t* pointer, but the destination
   * buffer is uint16_t[3]. This is correct because GPDMA1 Channel 0 is
   * configured for halfword (16-bit) source and destination data widths.
   */
  adc_status = HAL_ADC_Start_DMA(&hadc1, (uint32_t*) sensor_fifo[head].adc, 3);

  if (adc_status != HAL_OK)
  {
    memset(sensor_fifo[head].adc, 0, sizeof(sensor_fifo[head].adc));
    adc_finished = 1;
  }

  /* If both failed, discard the slot */
  if (spi_status != HAL_OK && adc_status != HAL_OK)
  {
    sensor_fifo[head].status = 0;
    dma_in_progress = 0;
  }

}

void HAL_SPI_TxRxCpltCallback(SPI_HandleTypeDef *hspi)
{
  if (hspi->Instance == SPI1)
  {
    HAL_GPIO_WritePin(GPIOA, IMU_CS_Pin, GPIO_PIN_SET);
    spi_finished = 1;
    Check_DMA_Complete();
  }
}

void HAL_ADC_ConvCpltCallback(ADC_HandleTypeDef *hadc)
{
  if (hadc->Instance == ADC1)
  {
    adc_finished = 1;
    Check_DMA_Complete();
  }
}

void HAL_SPI_ErrorCallback(SPI_HandleTypeDef *hspi)
{
  if (hspi->Instance == SPI1)
  {
    HAL_GPIO_WritePin(GPIOA, IMU_CS_Pin, GPIO_PIN_SET);
    memset(sensor_fifo[sensor_fifo_head].imu, 0,
           sizeof(sensor_fifo[sensor_fifo_head].imu));
    spi_finished = 1;
    Check_DMA_Complete();
  }
}

void HAL_ADC_ErrorCallback(ADC_HandleTypeDef *hadc)
{
  if (hadc->Instance == ADC1)
  {
    memset(sensor_fifo[sensor_fifo_head].adc, 0,
           sizeof(sensor_fifo[sensor_fifo_head].adc));
    adc_finished = 1;
    Check_DMA_Complete();
  }
}
/* USER CODE END 4 */

void Error_Handler(void)
{
  __disable_irq();
  while (1)
  {
  }
}
